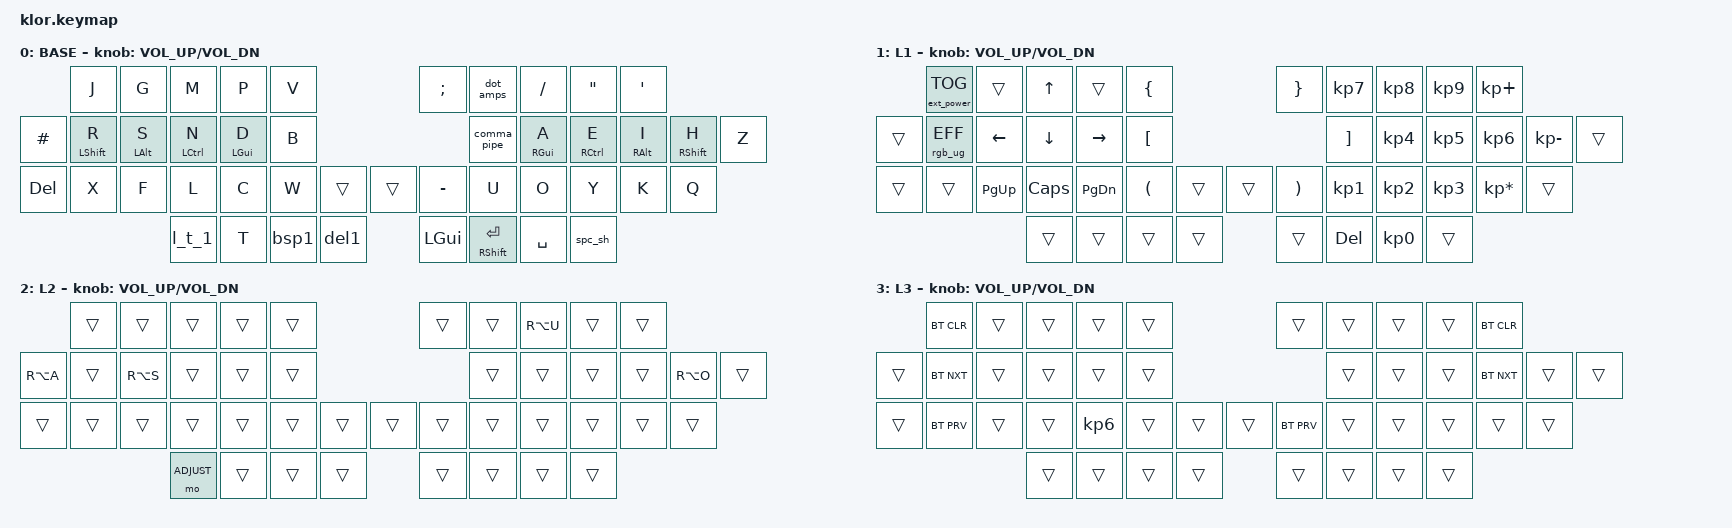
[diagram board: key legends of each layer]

//                               █         █    █            ▄▄▄▀▀▀▀▀▀▄▄▄        █▀▀▀▀▀▀▀▀▀▀█
//                               █        █     █          ▄▀            ▀▄      █          █
//                               █       █      █        ▄▀                ▀▄    █          █
//                               █      █       █        █                  █    █          █
//                               █     █        █       █                    █   █          █
//                               █    █         █       █                    █   █▄▄▄▄▄▄▄▄▄▄█
//                               █   █ █        █       █                    █   █      █
//                               █  █   █       █        █                  █    █       █
//                               █ █     █      █        ▀▄                ▄▀    █        █
//                               ██       █     █          ▀▄            ▄▀      █         █
//                               █         █    █▄▄▄▄▄▄▄▄    ▀▀▀▄▄▄▄▄▄▀▀▀        █          █
//
// ▄▄▄▄▄▄▄▄▄▄▄▄▄▄▄▄▄▄▄▄▄▄▄▄▄▄▄▄▄▄▄▄▄▄▄▄▄▄▄▄▄▄▄▄▄▄▄▄▄▄▄▄▄▄▄▄▄▄▄▄▄▄▄▄▄▄▄▄▄▄▄▄▄▄▄▄▄▄▄▄▄▄▄▄▄▄▄▄▄▄▄▄▄▄▄▄▄▄▄▄▄▄▄▄▄▄▄▄▄▄▄▄▄▄▄▄▄▄▄▄▄▄▄▄▄
       
#include <behaviors.dtsi>
#include <dt-bindings/zmk/keys.h>
#include <dt-bindings/zmk/bt.h>
#include <dt-bindings/zmk/outputs.h>
#include <dt-bindings/zmk/ext_power.h>
#include <dt-bindings/zmk/rgb.h>

// ▄▄▄▄▄▄▄▄▄▄▄▄▄▄▄▄▄▄▄▄▄▄▄▄▄▄▄▄▄▄▄▄▄▄▄▄▄▄▄▄▄▄▄▄▄▄▄▄▄▄▄▄▄▄▄▄▄▄▄▄▄▄▄▄▄▄▄▄▄▄▄▄▄▄▄▄▄▄▄▄▄▄▄▄▄▄▄▄▄▄▄▄▄▄▄▄▄▄▄▄▄▄▄▄▄▄▄▄▄▄▄▄▄▄▄▄▄▄▄▄▄▄▄▄▄▄▄▄▄▄▄▄▄▄▄▄▄▄▄▄▄▄

#define BASE   0
#define L1     1
#define L2     2
#define L3     3

// ▄▄▄▄▄▄▄▄▄▄▄▄▄▄▄▄▄▄▄▄▄▄▄▄▄▄▄▄▄▄▄▄▄▄▄▄▄▄▄▄▄▄▄▄▄▄▄▄▄▄▄▄▄▄▄▄▄▄▄▄▄▄▄▄▄▄▄▄▄▄▄▄▄▄▄▄▄▄▄▄▄▄▄▄▄▄▄▄▄▄▄▄▄▄▄▄▄▄▄▄▄▄▄▄▄▄▄▄▄▄▄▄▄▄▄▄▄▄▄▄▄▄▄▄▄▄▄▄▄▄▄▄▄▄▄▄▄▄▄▄▄▄

&mt {
    flavor = "tap-preferred";
    tapping_term_ms = <180>;
};

// ▄▄▄▄▄▄▄▄▄▄▄▄▄▄▄▄▄▄▄▄▄▄▄▄▄▄▄▄▄▄▄▄▄▄▄▄▄▄▄▄▄▄▄▄▄▄▄▄▄▄▄▄▄▄▄▄▄▄▄▄▄▄▄▄▄▄▄▄▄▄▄▄▄▄▄▄▄▄▄▄▄▄▄▄▄▄▄▄▄▄▄▄▄▄▄▄▄▄▄▄▄▄▄▄▄▄▄▄▄▄▄▄▄▄▄▄▄▄▄▄▄▄▄▄▄▄▄▄▄▄▄▄▄▄▄▄▄▄▄▄▄▄
// ▄▄▄▄▄▄▄▄▄▄▄▄▄▄▄▄▄▄▄▄▄▄▄▄▄▄▄▄▄▄▄▄▄▄▄▄▄▄▄▄▄▄▄▄▄▄▄▄▄▄▄▄▄▄▄▄▄▄▄▄▄▄▄▄▄▄▄▄▄▄▄▄▄▄▄▄▄▄▄▄▄▄▄▄▄▄▄▄▄▄▄▄▄▄▄▄▄▄▄▄▄▄▄▄▄▄▄▄▄▄▄▄▄▄▄▄▄▄▄▄▄▄▄▄▄▄▄▄▄▄▄▄▄▄▄▄▄▄▄▄▄▄
/ {
    behaviors {
// ▄▄▄▄▄▄▄▄▄▄▄▄▄▄▄▄▄▄▄▄▄▄▄▄▄▄▄▄▄▄▄▄▄▄▄▄▄▄▄▄▄▄▄▄▄▄▄▄▄▄▄▄▄▄▄▄▄▄▄▄▄▄▄▄▄▄▄▄▄▄▄▄▄▄▄▄▄▄▄▄▄▄▄▄▄▄▄▄▄▄▄▄▄▄▄▄▄▄▄▄▄▄▄▄▄▄▄▄▄▄▄▄▄▄▄▄▄▄▄▄▄▄▄▄▄▄▄▄▄▄▄▄▄▄▄▄▄▄▄▄▄▄
// HOLD TAP

        h_h: hold_tap_hold_prefered {
            compatible = "zmk,behavior-hold-tap";
            label = "HT_HP";
            #binding-cells = <2>;
            tapping-term-ms = <150>;
            quick_tap_ms = <0>;
            flavor = "hold-preferred";
            bindings = <&kp>, <&kp>;
        };
        h_b: ht_bl {
            compatible = "zmk,behavior-hold-tap";
            label = "HT_BL";
            #binding-cells = <2>;
            tapping-term-ms = <150>;
            quick_tap_ms = <0>;
            flavor = "balanced";
            bindings = <&kp>, <&kp>;
        };
        h_t: ht_tp {
            compatible = "zmk,behavior-hold-tap";
            label = "HT_TP";
            #binding-cells = <2>;
            tapping-term-ms = <150>;
            quick_tap_ms = <0>;
            flavor = "tap-preferred";
            bindings = <&kp>, <&kp>;
        };


        lay_re: layer_repeat {
            compatible = "zmk,behavior-hold-tap";
            label = "LT_REP";
            #binding-cells = <1>;
            tapping-term-ms = <100>;
            quick_tap_ms = <0>;
            flavor = "balanced";
            bindings = <&mo>, <&key_repeat>;
        };

// ▄▄▄▄▄▄▄▄▄▄▄▄▄▄▄▄▄▄▄▄▄▄▄▄▄▄▄▄▄▄▄▄▄▄▄▄▄▄▄▄▄▄▄▄▄▄▄▄▄▄▄▄▄▄▄▄▄▄▄▄▄▄▄▄▄▄▄▄▄▄▄▄▄▄▄▄▄▄▄▄▄▄▄▄▄▄▄▄▄▄▄▄▄▄▄▄▄▄▄▄▄▄▄▄▄▄▄▄▄▄▄▄▄▄▄▄▄▄▄▄▄▄▄▄▄▄▄▄▄▄▄▄▄▄▄▄▄▄▄▄▄▄
// Other

	at: alt_tabber {
            compatible = "zmk,mod-holder";
            label = "ALT_TABBER";
            #binding-cells = <1>;
            mods = <MOD_LALT>;
        };

// ▄▄▄▄▄▄▄▄▄▄▄▄▄▄▄▄▄▄▄▄▄▄▄▄▄▄▄▄▄▄▄▄▄▄▄▄▄▄▄▄▄▄▄▄▄▄▄▄▄▄▄▄▄▄▄▄▄▄▄▄▄▄▄▄▄▄▄▄▄▄▄▄▄▄▄▄▄▄▄▄▄▄▄▄▄▄▄▄▄▄▄▄▄▄▄▄▄▄▄▄▄▄▄▄▄▄▄▄▄▄▄▄▄▄▄▄▄▄▄▄▄▄▄▄▄▄▄▄▄▄▄▄▄▄▄▄▄▄▄▄▄▄
// MACRO

	spc_sh: space_shift_macro {
		compatible = "zmk,behavior-macro";
		label = "MACRO1";
		#binding-cells = <0>;
		bindings = <&macro_tap &kp SPACE &sk RSHIFT>;
	};
       
// ▄▄▄▄▄▄▄▄▄▄▄▄▄▄▄▄▄▄▄▄▄▄▄▄▄▄▄▄▄▄▄▄▄▄▄▄▄▄▄▄▄▄▄▄▄▄▄▄▄▄▄▄▄▄▄▄▄▄▄▄▄▄▄▄▄▄▄▄▄▄▄▄▄▄▄▄▄▄▄▄▄▄▄▄▄▄▄▄▄▄▄▄▄▄▄▄▄▄▄▄▄▄▄▄▄▄▄▄▄▄▄▄▄▄▄▄▄▄▄▄▄▄▄▄▄▄▄▄▄▄▄▄▄▄▄▄▄▄▄▄▄▄
// MOD MORPH

        l_t_1: left_thumb_1 {
            compatible = "zmk,behavior-mod-morph";
            label = "LEFT_THUMB";
            #binding-cells = <0>;
            bindings = <&lay_re 1>, <&lay_re 4>;
            mods = <(MOD_LSFT|MOD_RSFT)>;
        };
        
        dot_amps: dot_amps {
            compatible = "zmk,behavior-mod-morph";
            label = "DOT_AMPS";
            #binding-cells = <0>;
            bindings = <&kp DOT>, <&kp AMPS>;
            mods = <(MOD_LSFT|MOD_RSFT)>;
        };

        comma_pipe: comma_pipe {
            compatible = "zmk,behavior-mod-morph";
            label = "COMMA_PIPE";
            #binding-cells = <0>;
            bindings = <&kp COMMA>, <&kp PIPE>;
            mods = <(MOD_LSFT|MOD_RSFT)>;
        };
        
        bsp1: bsp1 {
            compatible = "zmk,behavior-mod-morph";
            label = "BSP1";
            #binding-cells = <0>;
            bindings = <&kp BSPC>, <&kp LC(BSPC)>;
            mods = <(MOD_LSFT|MOD_RSFT)>;
        };
        del1: del1 {
            compatible = "zmk,behavior-mod-morph";
            label = "DEL1";
            #binding-cells = <0>;
            bindings = <&kp DEL>, <&kp LC(DEL)>;
            mods = <(MOD_LSFT|MOD_RSFT)>;
        };

        skq: sticky_key_quick_release {
            compatible = "zmk,behavior-sticky-key";
            label = "STICKY_KEY_QUICK_RELEASE";
            #binding-cells = <1>;
            bindings = <&kp>;
            release-after-ms = <1000>;
            quick-release;
        };

    };

// ▄▄▄▄▄▄▄▄▄▄▄▄▄▄▄▄▄▄▄▄▄▄▄▄▄▄▄▄▄▄▄▄▄▄▄▄▄▄▄▄▄▄▄▄▄▄▄▄▄▄▄▄▄▄▄▄▄▄▄▄▄▄▄▄▄▄▄▄▄▄▄▄▄▄▄▄▄▄▄▄▄▄▄▄▄▄▄▄▄▄▄▄▄▄▄▄▄▄▄▄▄▄▄▄▄▄▄▄▄▄▄▄▄▄▄▄▄▄▄▄▄▄▄▄▄▄▄▄▄▄▄▄▄▄▄▄▄▄▄▄▄▄
// ▄▄▄▄▄▄▄▄▄▄▄▄▄▄▄▄▄▄▄▄▄▄▄▄▄▄▄▄▄▄▄▄▄▄▄▄▄▄▄▄▄▄▄▄▄▄▄▄▄▄▄▄▄▄▄▄▄▄▄▄▄▄▄▄▄▄▄▄▄▄▄▄▄▄▄▄▄▄▄▄▄▄▄▄▄▄▄▄▄▄▄▄▄▄▄▄▄▄▄▄▄▄▄▄▄▄▄▄▄▄▄▄▄▄▄▄▄▄▄▄▄▄▄▄▄▄▄▄▄▄▄▄▄▄▄▄▄▄▄▄▄▄

    combos {
        compatible = "zmk,combos";

        combo_esc {
            timeout-ms = <30>;
            key-positions = <1 2>;
            bindings = <&kp ESC>;
            layers = <0>;
        };

    };


// ▄▄▄▄▄▄▄▄▄▄▄▄▄▄▄▄▄▄▄▄▄▄▄▄▄▄▄▄▄▄▄▄▄▄▄▄▄▄▄▄▄▄▄▄▄▄▄▄▄▄▄▄▄▄▄▄▄▄▄▄▄▄▄▄▄▄▄▄▄▄▄▄▄▄▄▄▄▄▄▄▄▄▄▄▄▄▄▄▄▄▄▄▄▄▄▄▄▄▄▄▄▄▄▄▄▄▄▄▄▄▄▄▄▄▄▄▄▄▄▄▄▄▄▄▄▄▄▄▄▄▄▄▄▄▄▄▄▄▄▄▄▄
// ▄▄▄▄▄▄▄▄▄▄▄▄▄▄▄▄▄▄▄▄▄▄▄▄▄▄▄▄▄▄▄▄▄▄▄▄▄▄▄▄▄▄▄▄▄▄▄▄▄▄▄▄▄▄▄▄▄▄▄▄▄▄▄▄▄▄▄▄▄▄▄▄▄▄▄▄▄▄▄▄▄▄▄▄▄▄▄▄▄▄▄▄▄▄▄▄▄▄▄▄▄▄▄▄▄▄▄▄▄▄▄▄▄▄▄▄▄▄▄▄▄▄▄▄▄▄▄▄▄▄▄▄▄▄▄▄▄▄▄▄▄▄
        keymap {
                compatible = "zmk,keymap";
// ▄▄▄▄▄▄▄▄▄▄▄▄▄▄▄▄▄▄▄▄▄▄▄▄▄▄▄▄▄▄▄▄▄▄▄▄▄▄▄▄▄▄▄▄▄▄▄▄▄▄▄▄▄▄▄▄▄▄▄▄▄▄▄▄▄▄▄▄▄▄▄▄▄▄▄▄▄▄▄▄▄▄▄▄▄▄▄▄▄▄▄▄▄▄▄▄▄▄▄▄▄▄▄▄▄▄▄▄▄▄▄▄▄▄▄▄▄▄▄▄▄▄▄▄▄▄▄▄▄▄▄▄▄▄▄▄▄▄▄▄▄▄


                base_layer {
// ┌───────────────────────────────────────────────────────────┐
label= "BASE"                                                  ;
// └───────────────────────────────────────────────────────────┘
/*           ┌─────────┬─────────┬─────────┬─────────┬─────────┐                    ┌─────────┬─────────┬─────────┬─────────┬─────────┐
0            │    J    │    g    │    M    │    P    │    V    │  5                 │    ?    │   .     │    /    │    "    │  '      │   10
1            │   ^^^   │   ^^^   │   ^^^   │   ^^^   │   ^^^   │                    │ Alt_tab │   Esc   │    \    │    @    │   TAB   │ 
2            │         │    7    │    8    │    9    │         │                    │    !    │    .    │    /    │         │         │         
3            │         │         │         │         │  Paste  │                    │ Alt_tab │   Esc   │         │         │   TAB   │         
4            │         │         │         │         │   ^^^   │                    │         │         │         │         │         │         
5            │         │         │         │         │         │                    │         │         │         │         │         │         
6            │         │         │         │         │         │                    │         │         │         │         │         │         
   ┌─────────┼─────────┼─────────┼─────────┼─────────┼─────────┤                    ├─────────┼─────────┼─────────┼─────────┼─────────┼─────────┐
0  │  L3(3max│    R    │    S    │    N    │    D    │    B    │  16                │    ,    │    A    │    E    │    I    │    H    │    Z    │  22
1  │    L5   │   ^^^   │   ^^^   │   ^^^   │   ^^^   │   ^^^   │                    │    [    │   ^^^   │   ^^^   │   ^^^   │   ^^^   │   ^^^   │
2  │         │    0    │    1    │    2    │    3    │    =    │                    │    ,    │    (    │    )    │    :    │    ;    │    €    │
3  │    L0   │   WIN   │   ALT   │   STRG  │  Shift  │         │                    │         │   <-    │   DOWN  │    UP   │    ->   │ strg(z) │
4  │    L5   │         │         │         │         │         │                    │         │   POS1  │   PGdn  │   PGup  │   End   │   ^^^   │
5  │    L0   │ Speed_1 │ speed_2 │ speed_3 │ L_Click │ R_Click │                    │         │   <-M   │  M_DOWN │   M_UP  │   M->   │   ^^^   │
5  │         │         │         │         │         │         │                    │    ]    │    Ä    │    é    │         │         │         │
   ├─────────┼─────────┼─────────┼─────────┼─────────┼─────────┤╭────────╮╭────────╮├─────────┼─────────┼─────────┼─────────┼─────────┼─────────┤
0  │  HASH   │    X    │    F    │    L    │    C    │    W    ││  MUTE  ││PLY/PSE ││    -    │    U    │    O    │    Y    │    K    │    Q    │  36
1  │ CapsWord│   ^^^   │   ^^^   │   ^^^   │   ^^^   │   ^^^   │╰────────╯╰────────╯│    _    │   ^^^   │   ^^^   │   ^^^   │   ^^^   │   ^^^   │
2  │         │         │    4    │    5    │    6    │    $    │		    │    -    │    <    │    >    │    {    │    }    │         │
3  │         │   Cut   │         │         │  Coppy  │         │ 28                 │         │         │         │         │         │         │
4  │         │   ^^^   │         │         │   ^^^   │         │                    │         │         │         │         │         │         │
5  │         │         │         │         │         │         │                    │         │ <-SCROLL│ SCROLLdn│SCROLLup │SCROLL-> │         │
6  │         │         │         │         │         │         │                    │         │    Ü    │    Ö    │         │         │         │
   └─────────┴─────────┴─────────┼─────────┼─────────┼─────────┼────────────────────┼─────────┼─────────┼─────────┼─────────┴─────────┴─────────┘
                              0  │ Rep(L2) │    T    │   BSPC  │   DEL   ││ CMD/WIN │ ENT(L1) │   Spc   │ Spc_L1  │  44
                              1  │  ^^(L6) │   ^^^   │  BSPC_W │  DEL_W  ││ ------- │ ------- │ ------- │ ------- │
                              2  │ ------- │ ------- │ ------- │ ------- ││         │  ENTER  │   ^^^   │   ^^^   │ 
                              3  │   ^^^   │ DEL_Line│   ^^^   │   ^^^   ││         │ ENT(L4) │   ^^^   │   ^^^   │ 
                              4  │   ^^^   │ DEL_Para│   ^^^   │   ^^^   ││ ------- │ ------- │ ------- │ ------- │ 
                              5  │         │         │         │         ││         │         │         │         │ 
                              6  │         │         │         │         ││         │         │         │         │ 
                                 └─────────┴─────────┴─────────┴─────────┘└─────────┴─────────┴─────────┴─────────┘ */ 
 bindings = <
 //╷         ╷         ╷         ╷         ╷         ╷         ╷         ╷╷         ╷         ╷         ╷         ╷         ╷         ╷         ╷                     
              &kp J    &kp G     &kp M      &kp P     &kp V                          &kp SEMI  &dot_amps &kp SLASH &kp DQT   &kp SQT
    &kp HASH &h_b LSHFT R &h_b LALT S &h_b LCTRL N &h_b LGUI D &kp B              &comma_pipe &h_b RGUI A &h_b RCTRL E &h_b RALT I &h_b RSHFT H &kp Z
    &kp DEL   &kp X     &kp F     &kp L     &kp C     &kp W     &trans     &trans    &kp MINUS &kp U     &kp O     &kp Y     &kp K     &kp Q
                                  &l_t_1    &kp T     &bsp1     &del1      &kp LGUI  &h_h RSHIFT RET &kp SPC  &spc_sh 
                        >;
            sensor-bindings = <&inc_dec_kp C_VOL_UP C_VOL_DN>;
                };

// ▄▄▄▄▄▄▄▄▄▄▄▄▄▄▄▄▄▄▄▄▄▄▄▄▄▄▄▄▄▄▄▄▄▄▄▄▄▄▄▄▄▄▄▄▄▄▄▄▄▄▄▄▄▄▄▄▄▄▄▄▄▄▄▄▄▄▄▄▄▄▄▄▄▄▄▄▄▄▄▄▄▄▄▄▄▄▄▄▄▄▄▄▄▄▄▄▄▄▄▄▄▄▄▄▄▄▄▄▄▄▄▄▄▄▄▄▄▄▄▄▄▄▄▄▄▄▄▄▄▄▄▄▄▄▄▄▄▄▄▄▄▄


                lower_layer {
label= "L1"                                                 ;
 bindings = <
 //╷         ╷         ╷         ╷         ╷         ╷         ╷         ╷╷         ╷         ╷         ╷         ╷         ╷         ╷         ╷
    &ext_power EP_TOG   &trans    &kp UP    &trans    &kp LBRC                       &kp RBRC  &kp KP_N7 &kp KP_N8 &kp KP_N9 &kp KP_PLUS
    &trans  &rgb_ug RGB_EFF    &kp LEFT  &kp DOWN  &kp RIGHT &kp LBKT                       &kp RBKT  &kp KP_N4 &kp KP_N5 &kp KP_N6 &kp KP_MINUS &trans
    &trans    &trans    &kp PG_UP &kp CAPS  &kp PG_DN &kp LPAR  &trans     &trans    &kp RPAR  &kp KP_N1 &kp KP_N2 &kp KP_N3 &kp KP_MULTIPLY &trans
                                  &trans    &trans    &trans    &trans     &trans    &kp DELETE &kp KP_N0 &trans  
                        >;
            sensor-bindings = <&inc_dec_kp C_VOL_UP C_VOL_DN>;
                };

// ▄▄▄▄▄▄▄▄▄▄▄▄▄▄▄▄▄▄▄▄▄▄▄▄▄▄▄▄▄▄▄▄▄▄▄▄▄▄▄▄▄▄▄▄▄▄▄▄▄▄▄▄▄▄▄▄▄▄▄▄▄▄▄▄▄▄▄▄▄▄▄▄▄▄▄▄▄▄▄▄▄▄▄▄▄▄▄▄▄▄▄▄▄▄▄▄▄▄▄▄▄▄▄▄▄▄▄▄▄▄▄▄▄▄▄▄▄▄▄▄▄▄▄▄▄


                raise_layer {
label= "L2"                                                 ;
 bindings = <
 //╷         ╷         ╷         ╷         ╷         ╷         ╷         ╷╷         ╷         ╷         ╷         ╷         ╷         ╷         ╷
              &trans    &trans    &trans    &trans    &trans                         &trans    &trans    &kp RA(U) &trans    &trans     
    &kp RA(A) &trans    &kp RA(S) &trans    &trans    &trans                         &trans    &trans    &trans    &trans    &kp RA(O) &trans  
    &trans    &trans    &trans    &trans    &trans    &trans    &trans     &trans    &trans    &trans    &trans    &trans    &trans    &trans
                                  &mo ADJUST &trans   &trans    &trans     &trans    &trans    &trans    &trans  
                        >;
                sensor-bindings = <&inc_dec_kp C_VOL_UP C_VOL_DN>;
                };

// ▄▄▄▄▄▄▄▄▄▄▄▄▄▄▄▄▄▄▄▄▄▄▄▄▄▄▄▄▄▄▄▄▄▄▄▄▄▄▄▄▄▄▄▄▄▄▄▄▄▄▄▄▄▄▄▄▄▄▄▄▄▄▄▄▄▄▄▄▄▄▄▄▄▄▄▄▄▄▄▄▄▄▄▄▄▄▄▄▄▄▄▄▄▄▄▄▄▄▄▄▄▄▄▄▄▄▄▄▄▄▄▄▄▄▄▄▄▄▄▄▄▄▄▄▄


                adjust_layer {
label= "L3"                                                ;
 bindings = <
 //╷         ╷         ╷         ╷         ╷         ╷         ╷         ╷╷         ╷         ╷         ╷         ╷         ╷         ╷         ╷
             &bt BT_CLR &trans    &trans    &trans    &trans                         &trans    &trans    &trans    &trans    &bt BT_CLR   
    &trans   &bt BT_NXT &trans    &trans    &trans    &trans                         &trans    &trans    &trans    &bt BT_NXT &trans   &trans 
    &trans   &bt BT_PRV &trans    &trans    &kp KP_N6 &trans    &trans     &trans    &bt BT_PRV &trans   &trans    &trans    &trans    &trans    
                                  &trans    &trans    &trans    &trans     &trans    &trans    &trans    &trans    
                        >;
            sensor-bindings = <&inc_dec_kp C_VOL_UP C_VOL_DN>;
                };
        };
};
